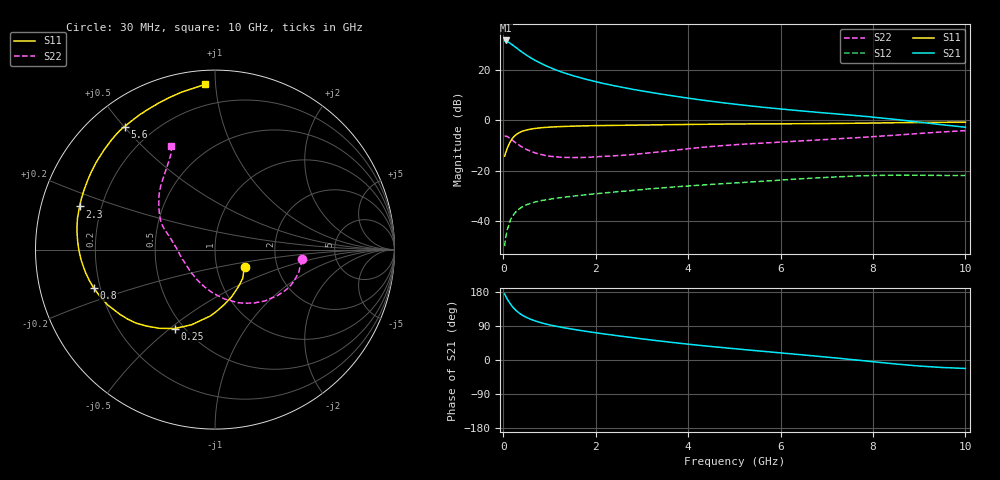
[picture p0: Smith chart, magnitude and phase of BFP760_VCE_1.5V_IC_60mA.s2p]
! Infineon Technologies  Discrete & RF Semiconductors
! BFP760
! VCE =  1.5 V,  IC =  60 mA
! Common Emitter S-Parameters:  Nov 2012
# GHz  S  MA  R  50
!  f  S11  S21  S12  S22
! GHz  MAG  ANG  MAG  ANG  MAG  ANG  MAG  ANG
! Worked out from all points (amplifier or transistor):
!   99 points, 30 MHz to 10 GHz, reference 50 ohm
!   highest |S21| = 31.9 dB at 50 MHz (marker M1)
!   |S21| within 3 dB of that: start of sweep to 288.3 MHz
!   unconditionally stable (mu >= 1): start of sweep to 157 MHz; 1.776 GHz to end of sweep
!   at 350 MHz: K = 0.74, MSG = 31.6 dB, |S12| = -35.2 dB
!   at 3.5 GHz: K = 1.25, MAG = 15.5 dB, |S12| = -26.8 dB
!   at 10 GHz: K = 1.27, MAG = 6.5 dB, |S12| = -22.0 dB
!   S11 on the Smith chart (normalised r, x): 30 MHz: 1.36, -0.28; 250 MHz: 0.45, -0.52; 800 MHz: 0.17, -0.15; 2.3 GHz: 0.12, +0.15; 5.6 GHz: 0.10, +0.50; 10 GHz: 0.08, +0.94
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0.03  0.193 -30.7  38.3 174.3  0.0031 52.2  0.4864 -6.5
0.04  0.2045 -39.0  38.25 172.3  0.0038 53.1  0.4873 -9.3
0.05  0.2227 -46.1  39.2 169.4  0.0042 56.4  0.4831 -11.9
0.09  0.2806 -71.1  37.46 160.1  0.0067 65.8  0.4726 -22.3
0.15  0.3721 -94.4  34.58 148.8  0.0102 58.5  0.4333 -36.0
0.2  0.4392 -107.4  31.87 140.6  0.0122 55.7  0.3998 -45.6
0.25  0.4941 -117.1  29.54 133.9  0.0142 52.5  0.3686 -53.8
0.35  0.5705 -131.6  25.09 123.4  0.0173 48.3  0.3185 -67.8
0.4  0.6008 -137.0  23.22 119.2  0.0186 46.7  0.2954 -73.4
0.5  0.6407 -145.7  20.05 112.5  0.0207 43.8  0.264 -84.1
0.6  0.6716 -152.5  17.54 107.2  0.0223 41.5  0.2411 -93.2
0.8  0.7088 -162.5  13.99 99.0  0.0249 38.7  0.2102 -109.0
1  0.7327 -170.0  11.44 92.8  0.0267 37.1  0.1936 -122.1
1.2  0.749 -175.9  9.682 87.8  0.0285 36.6  0.1856 -132.9
1.7  0.775 172.7  6.953 77.4  0.0322 36.3  0.1818 -152.7
2.3  0.7918 162.3  5.127 66.9  0.0365 37.0  0.1937 -168.3
3.4  0.8158 146.4  3.361 50.0  0.0447 37.0  0.2368 170.5
5.1  0.8473 129.6  2.059 28.7  0.0571 34.5  0.3308 154.1
5.6  0.8503 126.3  1.831 23.2  0.0609 33.4  0.3512 150.3
6.7  0.8613 118.7  1.476 11.1  0.0705 29.5  0.4017 141.2
8.5  0.8969 102.0  1.042 -10.6  0.0808 17.6  0.5077 123.5
10  0.9228 93.5  0.73 -22.3  0.0797 12.1  0.6241 112.9
